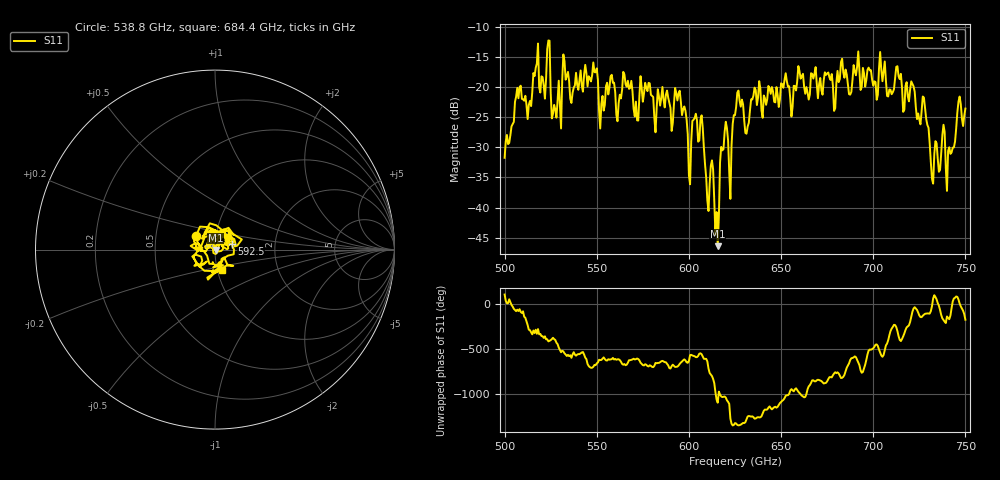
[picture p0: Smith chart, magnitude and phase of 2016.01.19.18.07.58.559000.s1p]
!Created with skrf (http://scikit-rf.org).
# GHz S RI R 50.0
!freq ReS11 ImS11
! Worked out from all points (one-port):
!   401 points, 500 GHz to 750 GHz, reference 50 ohm
!   lowest |S11| = -46.4 dB at 615.6 GHz (marker M1), VSWR 1.01, Z = 50.4 - j0.176 ohm
!   |S11| at or under -10 dB: start of sweep to end of sweep
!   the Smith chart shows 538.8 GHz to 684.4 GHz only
!   S11 on the Smith chart (normalised r, x): 538.8 GHz: 0.80, +0.12; 592.5 GHz: 1.20, +0.07; 684.4 GHz: 1.06, -0.24
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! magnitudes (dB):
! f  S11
! 500 GHz  -31.7
! 507.5 GHz  -21.9
! 513.8 GHz  -22.3
! 516.9 GHz  -16.8
! 520.6 GHz  -18.4
! 523.8 GHz  -12.3
! 526.9 GHz  -23.0
! 531.2 GHz  -18.9
! 538.8 GHz  -17.6
! 562.5 GHz  -21.3
! 592.5 GHz  -20.2
! 593.8 GHz  -22.2
! 600 GHz  -34.7
! 606.9 GHz  -24.7
! 610 GHz  -38.9
! 612.5 GHz  -32.2
! 615.6 GHz  -46.4
! 618.8 GHz  -30.3
! 622.5 GHz  -38.6
! 625 GHz  -24.7
! 656.2 GHz  -23.3
! 684.4 GHz  -18.5
! 687.5 GHz  -21.3
! 690.6 GHz  -18.0
! 718.8 GHz  -21.5
! 728.1 GHz  -23.6
! 731.9 GHz  -35.2
! 750 GHz  -23.6
